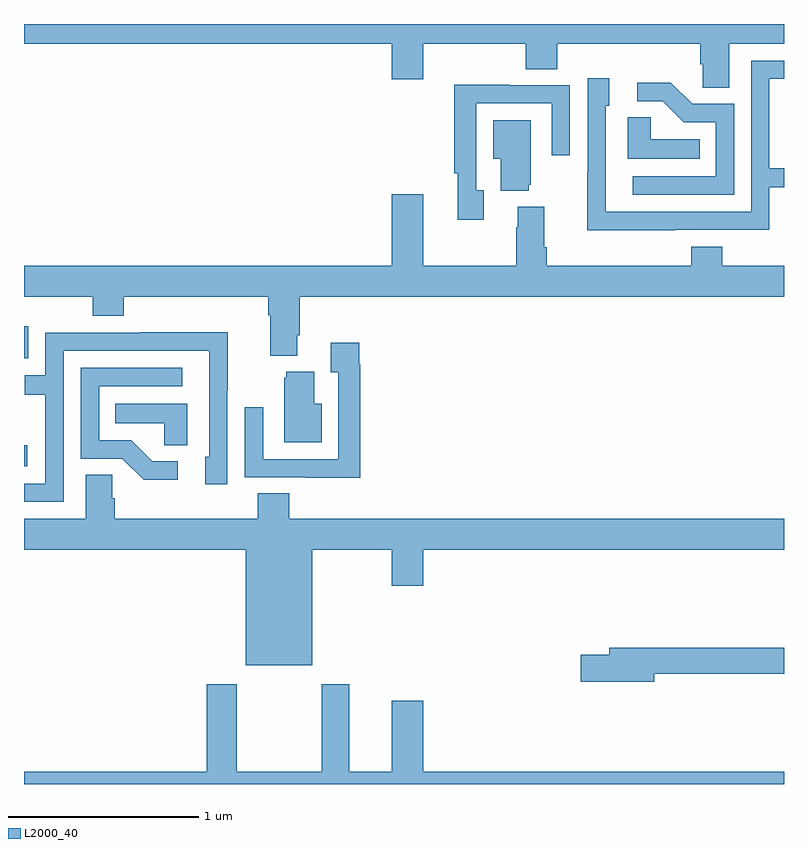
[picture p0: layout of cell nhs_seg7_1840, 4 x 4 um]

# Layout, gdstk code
import gdstk
lib = gdstk.Library(unit=1e-6, precision=1e-09)
def R(c, l, rs):  # rectangles x0, y0, x1, y1
    for r in rs: c.add(gdstk.rectangle(r[:2], r[2:], *l))
def P(c, l, *ps):  # polygons
    for p in ps: c.add(gdstk.Polygon(p, *l))
L2000_40 = (2000, 40)

nhs_seg7_1840 = lib.new_cell('nhs_seg7_1840')
R(nhs_seg7_1840, L2000_40, [(235,1051.673,235.018,1051.783), (235,1052.241,235.023,1052.41)])
P(nhs_seg7_1840, L2000_40, [(238.711,1053.896),(239,1053.896),(239,1054),(235,1054),(235,1053.896),(236.936,1053.896),(236.936,1053.708),(237.1,1053.708),(237.1,1053.896),(237.641,1053.896),(237.641,1053.763),(237.806,1053.763),(237.806,1053.896),(238.559,1053.896),(238.559,1053.787),(238.572,1053.787),(238.572,1053.664),(238.711,1053.664)],
  [(238.427,1052.916),(238.923,1052.916),(238.923,1053.141),(239,1053.141),(239,1053.242),(238.923,1053.242),(238.923,1053.711),(239,1053.711),(239,1053.807),(238.827,1053.807),(238.827,1053.012),(238.062,1053.012),(238.062,1053.57),(238.081,1053.57),(238.081,1053.715),(237.966,1053.715),(237.966,1053.221),(237.964,1053.221),(237.964,1052.915),(238.427,1052.915)],
  [(238.737,1053.579),(238.518,1053.579),(238.405,1053.692),(238.227,1053.692),(238.227,1053.594),(238.361,1053.594),(238.472,1053.483),(238.641,1053.483),(238.641,1053.198),(238.203,1053.198),(238.203,1053.102),(238.737,1053.102)],
  [(237.421,1053.126),(237.381,1053.126),(237.381,1053.582),(237.777,1053.582),(237.777,1053.309),(237.873,1053.309),(237.873,1053.678),(237.557,1053.678),(237.557,1053.68),(237.265,1053.68),(237.265,1053.214),(237.284,1053.214),(237.284,1052.97),(237.421,1052.97)],
  [(238.556,1053.394),(238.299,1053.394),(238.299,1053.509),(238.178,1053.509),(238.178,1053.29),(238.556,1053.29)],
  [(237.656,1053.153),(237.667,1053.153),(237.667,1053.493),(237.47,1053.493),(237.47,1053.29),(237.509,1053.29),(237.509,1053.122),(237.656,1053.122)],
  [(236.437,1052.362),(236.45,1052.362),(236.45,1052.564),(239,1052.564),(239,1052.728),(238.676,1052.728),(238.676,1052.827),(238.511,1052.827),(238.511,1052.728),(237.752,1052.728),(237.752,1052.824),(237.739,1052.824),(237.739,1053.037),(237.599,1053.037),(237.599,1052.93),(237.592,1052.93),(237.592,1052.728),(237.1,1052.728),(237.1,1053.103),(236.936,1053.103),(236.936,1052.728),(235,1052.728),(235,1052.564),(235.361,1052.564),(235.361,1052.465),(235.526,1052.465),(235.526,1052.564),(236.285,1052.564),(236.285,1052.468),(236.297,1052.468),(236.297,1052.255),(236.437,1052.255)],
  [(235.209,1052.28),(235.974,1052.28),(235.974,1051.722),(235.955,1051.722),(235.955,1051.578),(236.07,1051.578),(236.07,1052.071),(236.073,1052.071),(236.073,1052.378),(235.609,1052.378),(235.609,1052.376),(235.113,1052.376),(235.113,1052.151),(235.003,1052.151),(235.003,1052.05),(235.113,1052.05),(235.113,1051.581),(235,1051.581),(235,1051.485),(235.209,1051.485)],
  [(236.771,1052.21),(236.764,1052.21),(236.764,1052.323),(236.615,1052.323),(236.615,1052.167),(236.655,1052.167),(236.655,1051.71),(236.259,1051.71),(236.259,1051.984),(236.163,1051.984),(236.163,1051.614),(236.479,1051.614),(236.479,1051.613),(236.771,1051.613)],
  [(235.81,1051.698),(235.675,1051.698),(235.564,1051.809),(235.395,1051.809),(235.395,1052.094),(235.834,1052.094),(235.834,1052.19),(235.299,1052.19),(235.299,1051.713),(235.518,1051.713),(235.631,1051.601),(235.81,1051.601)],
  [(236.566,1052.002),(236.527,1052.002),(236.527,1052.17),(236.381,1052.17),(236.381,1052.139),(236.369,1052.139),(236.369,1051.799),(236.566,1051.799)],
  [(235.858,1052.002),(235.48,1052.002),(235.48,1051.898),(235.737,1051.898),(235.737,1051.783),(235.858,1051.783)],
  [(236.518,1051.232),(236.936,1051.232),(236.936,1051.044),(237.1,1051.044),(237.1,1051.232),(239,1051.232),(239,1051.396),(236.396,1051.396),(236.396,1051.529),(236.231,1051.529),(236.231,1051.396),(235.478,1051.396),(235.478,1051.505),(235.464,1051.505),(235.464,1051.628),(235.325,1051.628),(235.325,1051.396),(235,1051.396),(235,1051.232),(236.168,1051.232),(236.168,1050.626),(236.518,1050.626)],
  [(238.318,1050.58),(239,1050.58),(239,1050.716),(238.079,1050.716),(238.079,1050.68),(237.93,1050.68),(237.93,1050.538),(238.318,1050.538)],
  [(239,1050.064),(237.1,1050.064),(237.1,1050.439),(236.936,1050.439),(236.936,1050.064),(236.713,1050.064),(236.713,1050.526),(236.566,1050.526),(236.566,1050.064),(236.121,1050.064),(236.121,1050.526),(235.961,1050.526),(235.961,1050.064),(235,1050.064),(235,1050),(239,1050)])

lib.write_gds('nhs_seg7_1840.gds')
